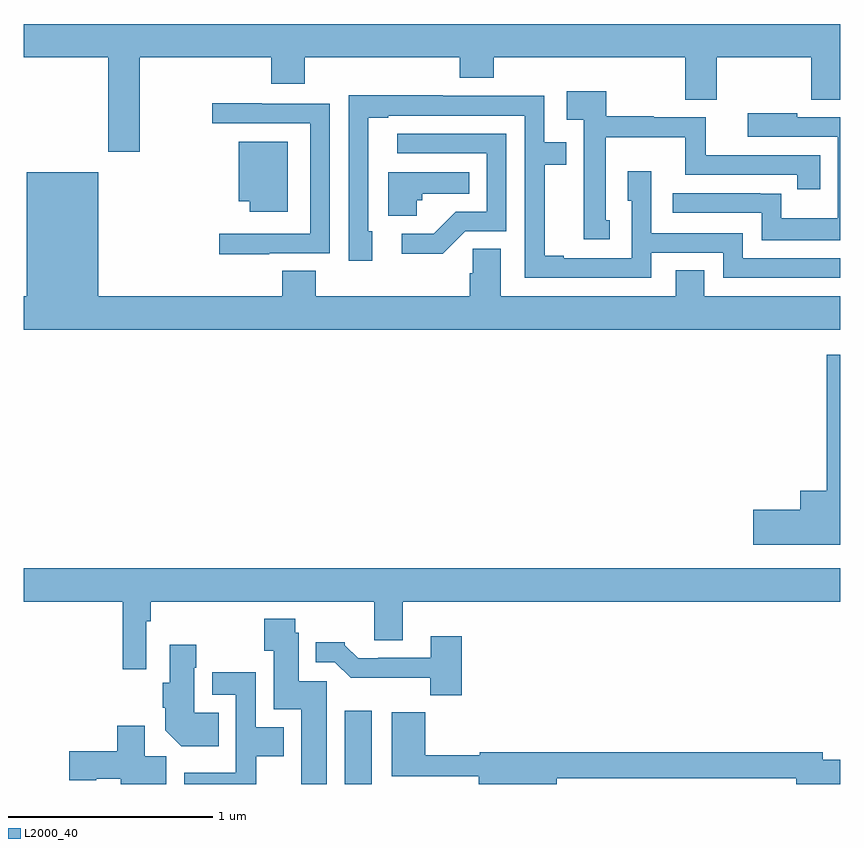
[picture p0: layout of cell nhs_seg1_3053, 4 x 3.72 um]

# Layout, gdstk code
import gdstk
lib = gdstk.Library(unit=1e-6, precision=1e-09)
def R(c, l, rs):  # rectangles x0, y0, x1, y1
    for r in rs: c.add(gdstk.rectangle(r[:2], r[2:], *l))
def P(c, l, *ps):  # polygons
    for p in ps: c.add(gdstk.Polygon(p, *l))
L2000_40 = (2000, 40)

nhs_seg1_3053 = lib.new_cell('nhs_seg1_3053')
R(nhs_seg1_3053, L2000_40, [(278.573,524.199,278.704,524.557)])
P(nhs_seg1_3053, L2000_40, [(277.569,527.756),(278.213,527.756),(278.213,527.628),(278.378,527.628),(278.378,527.756),(279.137,527.756),(279.137,527.657),(279.302,527.657),(279.302,527.756),(280.24,527.756),(280.24,527.548),(280.395,527.548),(280.395,527.756),(280.858,527.756),(280.858,527.548),(281,527.548),(281,527.92),(277,527.92),(277,527.756),(277.414,527.756),(277.414,527.295),(277.569,527.295)],
  [(279.871,526.959),(279.85,526.959),(279.85,527.366),(280.241,527.366),(280.241,527.181),(280.788,527.181),(280.788,527.112),(280.901,527.112),(280.901,527.277),(280.34,527.277),(280.34,527.463),(280.086,527.463),(280.086,527.468),(279.853,527.468),(279.853,527.59),(279.66,527.59),(279.66,527.45),(279.744,527.45),(279.744,527.354),(279.743,527.354),(279.743,526.866),(279.871,526.866)],
  [(280.074,526.8),(280.425,526.8),(280.425,526.677),(281,526.677),(281,526.773),(280.521,526.773),(280.521,526.896),(280.074,526.896),(280.074,527.2),(279.959,527.2),(279.959,527.055),(279.978,527.055),(279.978,526.773),(279.646,526.773),(279.646,526.786),(279.551,526.786),(279.551,527.232),(279.658,527.232),(279.658,527.34),(279.549,527.34),(279.549,527.568),(279.053,527.568),(279.053,527.57),(278.592,527.57),(278.592,526.761),(278.707,526.761),(278.707,526.905),(278.688,526.905),(278.688,527.46),(278.785,527.46),(278.785,527.472),(279.453,527.472),(279.453,526.677),(280.074,526.677)],
  [(278.203,526.797),(278.499,526.797),(278.499,527.529),(278.167,527.529),(278.167,527.533),(277.923,527.533),(277.923,527.433),(278.403,527.433),(278.403,526.893),(277.959,526.893),(277.959,526.793),(278.203,526.793)],
  [(281,527.463),(280.789,527.463),(280.789,527.482),(280.545,527.482),(280.545,527.367),(280.986,527.367),(280.986,526.969),(280.71,526.969),(280.71,527.09),(280.607,527.09),(280.607,527.091),(280.179,527.091),(280.179,526.995),(280.614,526.995),(280.614,526.862),(281,526.862)],
  [(279.162,526.905),(279.363,526.905),(279.363,527.382),(278.829,527.382),(278.829,527.286),(279.267,527.286),(279.267,527.001),(279.116,527.001),(279.008,526.893),(278.853,526.893),(278.853,526.796),(279.052,526.796)],
  [(278.293,527.344),(278.054,527.344),(278.054,527.051),(278.108,527.051),(278.108,527),(278.293,527)],
  [(281,526.588),(280.333,526.588),(280.333,526.715),(280.193,526.715),(280.193,526.588),(279.337,526.588),(279.337,526.82),(279.199,526.82),(279.199,526.7),(279.185,526.7),(279.185,526.588),(278.432,526.588),(278.432,526.712),(278.267,526.712),(278.267,526.588),(277.366,526.588),(277.366,527.194),(277.016,527.194),(277.016,526.588),(277,526.588),(277,526.424),(281,526.424)],
  [(278.926,527.058),(278.952,527.058),(278.952,527.09),(279.182,527.09),(279.182,527.194),(278.786,527.194),(278.786,526.982),(278.926,526.982)],
  [(281,526.3),(280.932,526.3),(280.932,525.634),(280.802,525.634),(280.802,525.542),(280.572,525.542),(280.572,525.371),(281,525.371)],
  [(277.602,524.996),(277.622,524.996),(277.622,525.092),(278.717,525.092),(278.717,524.902),(278.857,524.902),(278.857,525.092),(281,525.092),(281,525.256),(277,525.256),(277,525.092),(277.486,525.092),(277.486,524.76),(277.602,524.76)],
  [(278.485,524.703),(278.347,524.703),(278.347,524.94),(278.331,524.94),(278.331,525.007),(278.179,525.007),(278.179,524.851),(278.225,524.851),(278.225,524.564),(278.36,524.564),(278.36,524.199),(278.485,524.199)],
  [(279.146,524.923),(278.993,524.923),(278.993,524.817),(278.737,524.817),(278.737,524.814),(278.638,524.814),(278.574,524.878),(278.574,524.893),(278.432,524.893),(278.432,524.796),(278.523,524.796),(278.602,524.718),(278.991,524.718),(278.991,524.633),(279.146,524.633)],
  [(277.955,524.548),(277.837,524.548),(277.837,524.768),(277.845,524.768),(277.845,524.881),(277.715,524.881),(277.715,524.694),(277.682,524.694),(277.682,524.572),(277.694,524.572),(277.694,524.462),(277.772,524.384),(277.955,524.384)],
  [(278.139,524.336),(278.275,524.336),(278.275,524.476),(278.136,524.476),(278.136,524.746),(277.923,524.746),(277.923,524.637),(278.04,524.637),(278.04,524.254),(277.787,524.254),(277.787,524.199),(278.139,524.199)],
  [(279.61,524.226),(280.784,524.226),(280.784,524.199),(281,524.199),(281,524.318),(280.912,524.318),(280.912,524.354),(279.234,524.354),(279.234,524.339),(278.966,524.339),(278.966,524.551),(278.804,524.551),(278.804,524.238),(279.23,524.238),(279.23,524.199),(279.61,524.199)],
  [(277.699,524.336),(277.594,524.336),(277.594,524.485),(277.46,524.485),(277.46,524.36),(277.224,524.36),(277.224,524.218),(277.356,524.218),(277.356,524.225),(277.476,524.225),(277.476,524.199),(277.699,524.199)])

lib.write_gds('nhs_seg1_3053.gds')
